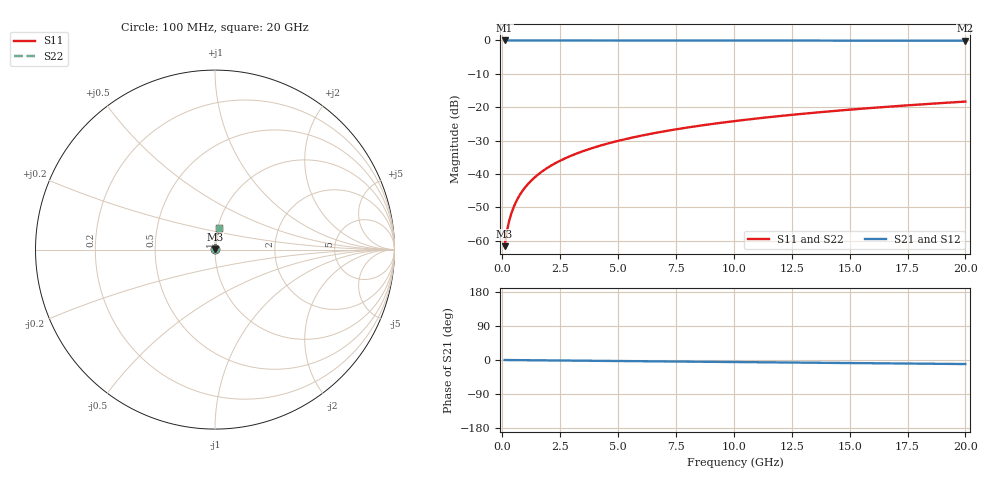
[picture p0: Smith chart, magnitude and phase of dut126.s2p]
! Touchstone file exported from HFSS 2026.1.0
!  File:  C:/ffzhzh/LocalFiles/Ansys_Project_Files/temp_train_TSV_126_1782990050_6248.aedt
!  Generated:  07:02:58 PM Jul  2, 2026
!  Design:  TSV
!  Project:  temp_train_TSV_126_1782990050_6248
! Variables:
!  h_bsmrdl = 2um
!  h_ox = 20um
!  h_rdl = 5um
!  h_sub = 72.22um
!  h_tmrdl = 5um
!  h_tsv = 72.22um
!  h_via = 3um
!  l_bsmrdl = 300um
!  l_sub = 408.2um
!  l_tmrdl = 200um
!  m_sub = 200um
!  pitch = 59.57um
!  r_tsv = 4.1um
!  s_tmrdl = 10um
!  w_bsmrdl = 18um
!  w_sub = 500um
!  w_tmrdl = 12um
!  x_tsv_center1 = 206um
!  x_tsv_center2 = 524um
!  x_tsv_center3 = 736um
!  x_tsv_center4 = 1054um
!  x_tsv_center5 = 1266um
!  x_tsv_center6 = 1584um
# GHz S MA R 50.000000
! Terminal data exported
! Port[1] = TSV1_1_T1
! Port[2] = TSV1_1_T2
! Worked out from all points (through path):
!   200 points, 100 MHz to 20 GHz, reference 50 ohm
!   highest |S21| = 0.00 dB at 100 MHz (marker M1); lowest = -0.1 dB at 20 GHz (marker M2)
!   group delay of S21, straight-line fit = 1.48 ps
!   lowest |S11| = -61.6 dB at 100 MHz (marker M3), VSWR 1.00, Z = 50.1 + j0.0649 ohm
!   |S11| at or under -10 dB: start of sweep to end of sweep
!   |S22| runs from -61.6 to -18.3 dB; largest |S21 - S12| = 3.2e-15
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0.1  0.0008324 51.2  0.9995 -0.1  0.9995 -0.1  0.0008324 51.2
! Gamma 0 0 0 0
! Port Impedance 50 0 50 0
0.2  0.001399 67.6  0.9995 -0.1  0.9995 -0.1  0.001399 67.6
0.3  0.00201 74.2  0.9995 -0.2  0.9995 -0.2  0.00201 74.2
0.4  0.002631 77.7  0.9994 -0.2  0.9994 -0.2  0.002631 77.7
0.5  0.003257 79.8  0.9994 -0.3  0.9994 -0.3  0.003257 79.8
0.7  0.004512 82.2  0.9994 -0.4  0.9994 -0.4  0.004512 82.2
0.8  0.005141 83.0  0.9994 -0.4  0.9994 -0.4  0.005141 83.0
1  0.006401 84.1  0.9994 -0.5  0.9994 -0.5  0.006401 84.1
1.2  0.007662 84.7  0.9993 -0.7  0.9993 -0.7  0.007662 84.7
1.4  0.008923 85.1  0.9993 -0.8  0.9993 -0.8  0.008923 85.1
1.7  0.01081 85.5  0.9993 -0.9  0.9993 -0.9  0.01081 85.5
2  0.0127 85.8  0.9992 -1.1  0.9992 -1.1  0.0127 85.8
2.7  0.0171 85.9  0.9991 -1.5  0.9991 -1.5  0.0171 85.9
3.5  0.02209 85.8  0.9989 -1.9  0.9989 -1.9  0.02209 85.8
4.2  0.02644 85.6  0.9987 -2.3  0.9987 -2.3  0.02644 85.6
5  0.03138 85.3  0.9984 -2.7  0.9984 -2.7  0.03138 85.3
6.8  0.04242 84.5  0.9978 -3.7  0.9978 -3.7  0.04242 84.5
8.3  0.05156 83.9  0.9972 -4.5  0.9972 -4.5  0.05156 83.9
10.1  0.06248 83.1  0.9964 -5.4  0.9964 -5.4  0.06248 83.1
13.4  0.08238 81.5  0.9947 -7.2  0.9947 -7.2  0.08238 81.5
16.7  0.1021 79.9  0.9927 -8.9  0.9927 -8.9  0.1021 79.9
20  0.1216 78.3  0.9903 -10.6  0.9903 -10.6  0.1216 78.3
